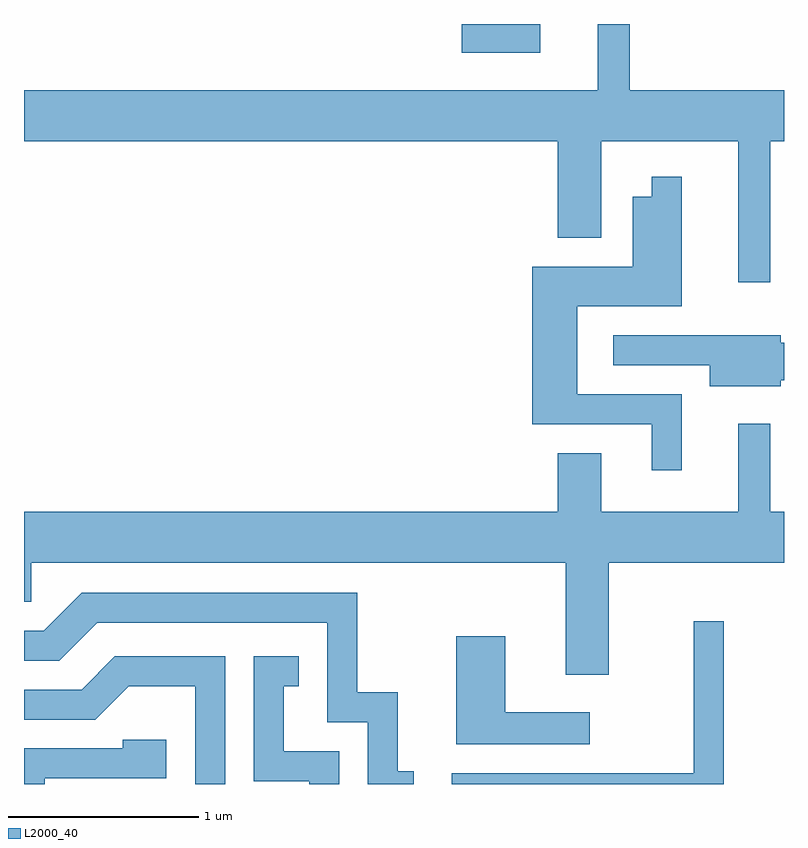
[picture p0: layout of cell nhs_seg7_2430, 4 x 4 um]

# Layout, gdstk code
import gdstk
lib = gdstk.Library(unit=1e-6, precision=1e-09)
def R(c, l, rs):  # rectangles x0, y0, x1, y1
    for r in rs: c.add(gdstk.rectangle(r[:2], r[2:], *l))
def P(c, l, *ps):  # polygons
    for p in ps: c.add(gdstk.Polygon(p, *l))
L2000_40 = (2000, 40)

nhs_seg7_2430 = lib.new_cell('nhs_seg7_2430')
R(nhs_seg7_2430, L2000_40, [(261.916,1728.101,262.329,1728.252)])
P(nhs_seg7_2430, L2000_40, [(263.539,1727.636),(263.611,1727.636),(263.611,1727.904),(262.799,1727.904),(262.799,1728.252),(262.631,1728.252),(262.631,1727.904),(259.611,1727.904),(259.611,1727.636),(262.421,1727.636),(262.421,1727.126),(262.649,1727.126),(262.649,1727.636),(263.371,1727.636),(263.371,1726.893),(263.539,1726.893)],
  [(263.074,1726.304),(262.524,1726.304),(262.524,1726.766),(263.074,1726.766),(263.074,1727.448),(262.916,1727.448),(262.916,1727.344),(262.816,1727.344),(262.816,1726.974),(262.286,1726.974),(262.286,1726.146),(262.916,1726.146),(262.916,1725.903),(263.074,1725.903)],
  [(263.594,1726.376),(263.611,1726.376),(263.611,1726.574),(263.594,1726.574),(263.594,1726.614),(262.713,1726.614),(262.713,1726.456),(263.221,1726.456),(263.221,1726.346),(263.594,1726.346)],
  [(262.689,1725.416),(263.611,1725.416),(263.611,1725.684),(263.539,1725.684),(263.539,1726.148),(263.371,1726.148),(263.371,1725.684),(262.649,1725.684),(262.649,1725.994),(262.421,1725.994),(262.421,1725.684),(259.611,1725.684),(259.611,1725.211),(259.649,1725.211),(259.649,1725.416),(262.461,1725.416),(262.461,1724.826),(262.689,1724.826)],
  [(261.663,1724.319),(261.579,1724.319),(261.579,1724.734),(261.364,1724.734),(261.364,1725.259),(259.914,1725.259),(259.714,1725.059),(259.611,1725.059),(259.611,1724.901),(259.796,1724.901),(259.997,1725.101),(261.206,1725.101),(261.206,1724.576),(261.421,1724.576),(261.421,1724.252),(261.663,1724.252)],
  [(263.294,1725.108),(263.136,1725.108),(263.136,1724.309),(261.863,1724.309),(261.863,1724.252),(263.294,1724.252)],
  [(262.588,1724.629),(262.144,1724.629),(262.144,1725.029),(261.886,1725.029),(261.886,1724.461),(262.588,1724.461)],
  [(260.669,1724.924),(260.089,1724.924),(259.914,1724.749),(259.611,1724.749),(259.611,1724.591),(259.986,1724.591),(260.162,1724.766),(260.511,1724.766),(260.511,1724.252),(260.669,1724.252)],
  [(261.269,1724.424),(260.979,1724.424),(260.979,1724.766),(261.058,1724.766),(261.058,1724.924),(260.821,1724.924),(260.821,1724.266),(261.111,1724.266),(261.111,1724.252),(261.269,1724.252)],
  [(259.719,1724.281),(260.359,1724.281),(260.359,1724.484),(260.131,1724.484),(260.131,1724.439),(259.611,1724.439),(259.611,1724.252),(259.719,1724.252)])

lib.write_gds('nhs_seg7_2430.gds')
